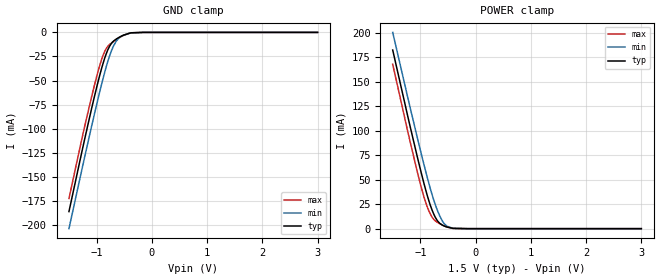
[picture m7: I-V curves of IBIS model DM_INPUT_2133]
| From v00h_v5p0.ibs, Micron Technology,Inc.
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| MODEL DM_INPUT_2133 (DM Input Model with no ODT, 2133Mbps)
[Model]   DM_INPUT_2133
Model_type   Input
Vinl = 615.000mV
Vinh = 885.000mV
|   typ   min   max
|C_comp   1.100pF   1.025pF   1.175pF
C_comp_power_clamp   0.5500pF   0.5125pF   0.5875pF
C_comp_gnd_clamp   0.5500pF   0.5125pF   0.5875pF
[Model Spec]
| Input threshold voltage corners
Vinl   0.6150V   0.5775V   0.6525V
Vinh   0.8850V   0.8475V   0.9225V
| Dynamic Overshoot Parameters from DDR3 Specification
D_overshoot_ampl_h   0.40   NA   NA
D_overshoot_ampl_l   0.40   NA   NA
D_overshoot_area_h   0.10n   NA   NA
D_overshoot_area_l   0.10n   NA   NA
[Receiver Thresholds]
Vth   =  0.750V
Vth_min  =  0.7350V
Vth_max  =  0.7650V
Vinh_ac  =  0.135V
Vinh_dc  =  0.100V
Vinl_ac  = -0.135V
Vinl_dc  = -0.100V
Tslew_ac =  5.000ns |Not specified, so set to high value
Threshold_sensitivity = 0.50
Reference_supply Power_clamp_ref
[Voltage Range]   1.5000V   1.4250V   1.5750V
[POWER Clamp Reference]   1.5000V   1.4250V   1.5750V
| Junction Temperature (Ambient temp is 35C typ, 95C min, 0C max)
[Temperature Range]   50.0   110.0   0.0
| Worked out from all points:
|   GND clamp passes 1 mA (typ) near -0.41 V on its own axis
|   POWER clamp passes 1 mA (typ) near -0.47 V on its own axis
[GND Clamp]
|   Voltage   I(typ)   I(min)   I(max)
-1.5V     -186.2mA   -204mA     -172.6mA
-1.273V   -125.9mA   -144.4mA   -112.4mA
-1.089V   -78.83mA   -97.28mA   -66.63mA
-989.7mV  -55.05mA   -72.82mA   -43.97mA
-906mV    -36.77mA   -53.14mA   -27.51mA
-813.3mV  -20.46mA   -33.31mA   -15.76mA
-737.6mV  -11.97mA   -20.09mA   -11.31mA
-647.9mV  -7.037mA   -9.445mA   -7.694mA
-568.5mV  -4.399mA   -4.62mA    -4.856mA
-388.5mV  -574.3uA   -621.3uA   -537.5uA
-148.7mV  -871nA     -2.88uA    -207.3nA
3V        0A         0A         0A
[POWER Clamp]
|   Voltage   I(typ)   I(min)   I(max)
-1.5V     182.5mA    200.6mA    168mA
-1.231V   115.6mA    134.8mA    100.1mA
-1.05V    72.19mA    91.8mA     56.79mA
-957mV    51.14mA    70.53mA    36.84mA
-882.6mV  35.49mA    54.1mA     23.47mA
-788.1mV  19.13mA    34.9mA     11.85mA
-699.2mV  8.758mA    19.92mA    6.751mA
-603.7mV  3.691mA    8.067mA    3.746mA
-516.8mV  1.636mA    2.488mA    1.648mA
-397.1mV  266.4uA    386.2uA    205.9uA
-148.7mV  480nA      2.052uA    92.39nA
3V        0A         0A         0A
